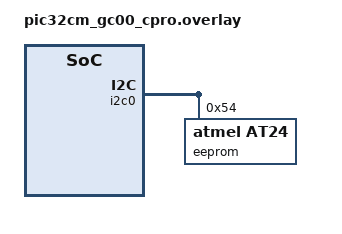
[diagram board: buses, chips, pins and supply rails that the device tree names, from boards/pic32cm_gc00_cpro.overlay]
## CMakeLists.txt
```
# Copyright (c) 2025 Microchip Technology Inc.
# SPDX-License-Identifier: Apache-2.0

cmake_minimum_required(VERSION 3.28.0)

find_package(Zephyr REQUIRED HINTS $ENV{ZEPHYR_BASE})
project(i2c_async)

target_sources(app PRIVATE src/main.c)
```

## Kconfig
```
# Copyright (c) 2026 Microchip Technology Inc.
# SPDX-License-Identifier: Apache-2.0

source "Kconfig.zephyr"

config I2C_ASYNC_TEST_EEPROM_OFFSET
	int "EEPROM internal offset used by the async I2C test"
	default 1
	help
	  Internal memory offset in the EEPROM that the test writes to and
	  reads back. Encoded into address bytes according to the device's
	  address-width property.

config I2C_ASYNC_TEST_DATA_LEN
	int "Payload length for the async I2C test"
	default 8
	range 1 256
	help
	  Number of data bytes written to and read back from the EEPROM.
```

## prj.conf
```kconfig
CONFIG_I2C=y
CONFIG_ZTEST=y
CONFIG_DMA=y
CONFIG_I2C_CALLBACK=y
```

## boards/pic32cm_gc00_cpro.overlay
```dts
/*
 * SPDX-FileCopyrightText: Copyright (c) 2026 Microchip Technology Inc.
 * SPDX-License-Identifier: Apache-2.0
 */

/* Connect EEPROM 3 Click to Mikro-Bus header via i2c0 (sercom1, PD1=SDA, PD0=SCL) */

/ {
	aliases {
		eeprom-0 = &eeprom;
	};
};

&i2c0 {
	eeprom: eeprom@54 {
		compatible = "atmel,at24";
		reg = <0x54>;
		size = <262144>;
		pagesize = <256>;
		address-width = <16>;
		timeout = <5>;
	};
};
```

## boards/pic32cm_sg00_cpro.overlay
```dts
/*
 * SPDX-FileCopyrightText: Copyright (c) 2026 Microchip Technology Inc.
 * SPDX-License-Identifier: Apache-2.0
 */

/* Connect EEPROM 3 Click to Mikro-Bus header via i2c0 (sercom1, PD1=SDA, PD0=SCL) */

/ {
	aliases {
		eeprom-0 = &eeprom;
	};
};

&i2c0 {
	eeprom: eeprom@54 {
		compatible = "atmel,at24";
		reg = <0x54>;
		size = <262144>;
		pagesize = <256>;
		address-width = <16>;
		timeout = <10>;
	};
};
```

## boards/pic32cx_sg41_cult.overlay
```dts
/*
 * Copyright (c) 2025 Microchip Technology Inc.
 *
 * SPDX-License-Identifier: Apache-2.0
 */

&sercom6 {
	eeprom0: eeprom@56 {
		compatible = "zephyr,i2c-target-eeprom";
		reg = <0x56>;
		size = <256>;
	};
};
```

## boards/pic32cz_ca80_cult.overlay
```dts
/*
 * Copyright (c) 2026 Microchip Technology Inc.
 *
 * SPDX-License-Identifier: Apache-2.0
 */

&sercom9 {
	eeprom0: eeprom@56 {};
};
```

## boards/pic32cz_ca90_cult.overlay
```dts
/*
 * Copyright (c) 2026 Microchip Technology Inc.
 *
 * SPDX-License-Identifier: Apache-2.0
 */

&dmac {
	status = "okay";
};

&pinctrl {
	sercom9_i2c_default: sercom9_i2c_default {
		group1 {
			pinmux = <PD28D_SERCOM9_PAD0>,
				 <PD29D_SERCOM9_PAD1>;
		};
	};
};

&sercom9 {
	compatible = "microchip,sercom-g1-i2c";
	#address-cells = <1>;
	#size-cells = <0>;
	clock-frequency = <I2C_BITRATE_FAST>;
	pinctrl-0 = <&sercom9_i2c_default>;
	pinctrl-names = "default";
	dmas = <&dmac 2 0x17>, <&dmac 3 0x18>;
	dma-names = "rx", "tx";
	status = "okay";

	eeprom0: eeprom@56 {
		compatible = "zephyr,i2c-target-eeprom";
		reg = <0x56>;
		size = <256>;
	};
};
```

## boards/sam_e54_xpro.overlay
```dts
/*
 * Copyright (c) 2025 Microchip Technology Inc.
 *
 * SPDX-License-Identifier: Apache-2.0
 */

&sercom7 {
	eeprom0: eeprom@56 {
		compatible = "zephyr,i2c-target-eeprom";
		reg = <0x56>;
		size = <256>;
	};
};
```

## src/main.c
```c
/*
 * Copyright (c) 2025 Microchip Technology Inc.
 *
 * SPDX-License-Identifier: Apache-2.0
 */

#include <zephyr/ztest.h>
#include <zephyr/drivers/i2c.h>

#define EEPROM_NODE     DT_ALIAS(eeprom_0)
#define EEPROM_I2C_ADDR DT_REG_ADDR(EEPROM_NODE)
#define I2C_NODE        DT_PARENT(EEPROM_NODE)

#define TEST_DATA_LEN      CONFIG_I2C_ASYNC_TEST_DATA_LEN
#define TEST_EEPROM_OFFSET CONFIG_I2C_ASYNC_TEST_EEPROM_OFFSET

/* Address length in bytes derived from the overlay's address-width property */
#define EEPROM_ADDR_LEN (DT_PROP_OR(EEPROM_NODE, address_width, 8) / 8)

/* EEPROM write cycle timeout (ms) from devicetree, falling back to 20 ms */
#define EEPROM_WRITE_TIMEOUT_MS DT_PROP_OR(EEPROM_NODE, timeout, 20)

static const struct device *i2c_dev = DEVICE_DT_GET(I2C_NODE);
static uint8_t write_data[TEST_DATA_LEN];
static uint8_t read_data[TEST_DATA_LEN];
static uint8_t eeprom_addr[EEPROM_ADDR_LEN];

static int async_status;

static void i2c_async_callback(const struct device *dev, int status, void *user_data)
{
	struct k_sem *sem = (struct k_sem *)user_data;

	async_status = status;
	k_sem_give(sem);
}

ZTEST(i2c_async, test_eeprom_async)
{
	static struct k_sem async_sem;
	int ret;

	k_sem_init(&async_sem, 0, 1);

	k_timeout_t timeout = K_MSEC(500);

	/* Encode the internal EEPROM offset as big-endian address bytes */
	for (int i = 0; i < EEPROM_ADDR_LEN; i++) {
		eeprom_addr[i] = (uint8_t)(TEST_EEPROM_OFFSET >> (8 * (EEPROM_ADDR_LEN - 1 - i)));
	}

	/* Initialize the write buffer with a deterministic pattern */
	for (int i = 0; i < TEST_DATA_LEN; i++) {
		write_data[i] = (uint8_t)((i + 1) * 0x10);
	}

	/* Write: address bytes followed by data payload */
	struct i2c_msg tx_msg[2] = {
		{.buf = eeprom_addr, .len = EEPROM_ADDR_LEN, .flags = I2C_MSG_WRITE},
		{.buf = write_data,
		 .len = sizeof(write_data),
		 .flags = I2C_MSG_WRITE | I2C_MSG_STOP}};

	ret = i2c_transfer_cb(i2c_dev, tx_msg, 2, EEPROM_I2C_ADDR, i2c_async_callback, &async_sem);
	zassert_equal(ret, 0, "EEPROM write failed: %d", ret);
	zassert_equal(k_sem_take(&async_sem, timeout), 0, "Timed out waiting for write callback");
	zassert_equal(async_status, 0, "EEPROM write transfer failed: %d", async_status);

	/* Allow EEPROM internal write cycle to complete */
	k_msleep(EEPROM_WRITE_TIMEOUT_MS);

	/* Read: write address bytes with repeated START, then read data */
	struct i2c_msg rx_msg[2] = {
		{.buf = eeprom_addr, .len = EEPROM_ADDR_LEN, .flags = I2C_MSG_WRITE},
		{.buf = read_data,
		 .len = sizeof(read_data),
		 .flags = I2C_MSG_READ | I2C_MSG_RESTART | I2C_MSG_STOP}};

	ret = i2c_transfer_cb(i2c_dev, rx_msg, 2, EEPROM_I2C_ADDR, i2c_async_callback, &async_sem);
	zassert_equal(ret, 0, "EEPROM read failed: %d", ret);
	zassert_equal(k_sem_take(&async_sem, timeout), 0, "Timed out waiting for read callback");
	zassert_equal(async_status, 0, "EEPROM read transfer failed: %d", async_status);

	for (int i = 0; i < TEST_DATA_LEN; i++) {
		zassert_equal(read_data[i], write_data[i],
			      "Data mismatch at index %d: expected 0x%02X, got 0x%02X", i,
			      write_data[i], read_data[i]);
	}
}

void *i2c_test_setup(void)
{
	zassert_true(device_is_ready(i2c_dev), "I2C device is not ready");
	return NULL;
}

ZTEST_SUITE(i2c_async, NULL, i2c_test_setup, NULL, NULL, NULL);
```
